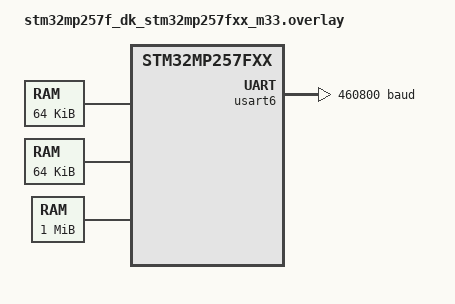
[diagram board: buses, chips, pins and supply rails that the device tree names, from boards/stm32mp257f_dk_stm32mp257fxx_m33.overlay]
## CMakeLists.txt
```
# MP257 Cortex-M33 Zephyr uygulamasının derleme tanımı.

# Zephyr 4.5.0'ın istediği en düşük CMake sürümü
cmake_minimum_required(VERSION 3.28)

# project()'ten önce gelmeli: kartı ve derleyiciyi bu satır ayarlar, app hedefini de oluşturur
find_package(Zephyr REQUIRED HINTS $ENV{ZEPHYR_BASE})

project(mp257_m33 LANGUAGES C)

# Derlenecek kaynaklar tek tek listelenir
target_sources(app PRIVATE src/main.c src/app_isr.c src/packet.c src/ipcc.c src/rpmsg_link.c src/f746_tx.c src/frame.c src/line_task.c)

# RPMsg kütüphanesinin başlıkları
target_include_directories(app PRIVATE ${LIBMETAL_INCLUDE_DIR} ${OPENAMP_INCLUDE_DIR})
```

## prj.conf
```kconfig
# M6: F746 ham telemetrisi, LD9, TELEM paketi ve Linux'a RPMsg kanalı.

# LD9 (PH6) bir GPIO pini
CONFIG_GPIO=y

# USART6 sürücüsü; baytlar kesmeyle gelir ve gider
CONFIG_SERIAL=y
CONFIG_UART_INTERRUPT_DRIVEN=y

# Yazı çıktısı yok
CONFIG_CONSOLE=n
CONFIG_UART_CONSOLE=n

# TELEM paketinin CRC8'i
CONFIG_CRC=y

# IPCC posta kutusu: Linux ile karşılıklı kesme
CONFIG_IPM=y

# RPMsg kütüphanesi; kanalı Linux yönetir
CONFIG_OPENAMP=y
CONFIG_OPENAMP_MASTER=n

# Linux kanalı bu tablodan öğrenir; yön başına 8 tampon (100 Hz'de 80 ms)
CONFIG_OPENAMP_RSC_TABLE=y
CONFIG_OPENAMP_RSC_TABLE_NUM_RPMSG_BUFF=8

# RPMsg kütüphanesinin açılışta ayırdığı bellek, bayt
CONFIG_HEAP_MEM_POOL_SIZE=2048
```

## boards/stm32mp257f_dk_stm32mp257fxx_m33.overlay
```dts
/* STM32MP257F-DK M33: kart tanımının üstüne yazılan ayarlar. */

/* F746 ham telemetri hattı: PF13 TX, PF14 RX */
&usart6 {
    current-speed = <460800>;
    fifo-enable;                        /* 64 bayt: kesme gecikse de bayt taşmaz */
};

/* Kart tanımında konsol için açık; kullanılmıyor */
&uart5 {
    status = "disabled";
};

/* Program DDR yerine M33'ün iç belleği SRAM2'de: 64 KB kod, 64 KB veri */
/ {
    chosen {
        zephyr,flash = &sram2_code;
        zephyr,sram = &sram2_data;
    };

    sram2_code: memory@a060000 {
        compatible = "zephyr,memory-region", "mmio-sram";
        reg = <0x0a060000 DT_SIZE_K(64)>;
        zephyr,memory-region = "SRAM2_CODE";
    };

    sram2_data: memory@a070000 {
        compatible = "zephyr,memory-region", "mmio-sram";
        reg = <0x0a070000 DT_SIZE_K(64)>;
        zephyr,memory-region = "SRAM2_DATA";
    };
};

/* Linux ile paylaşılan bellek: Linux'un ipc-shmem, vring ve tampon alanları, toplam 1 MB */
/ {
    chosen {
        zephyr,ipc_shm = &ipc_shmem;
        zephyr,ipc = &mailbox;
    };

    ipc_shmem: memory@81200000 {
        compatible = "mmio-sram";
        reg = <0x81200000 DT_SIZE_M(1)>;
    };
};
```

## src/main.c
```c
/* MP257 Cortex-M33 uygulaması. M6: F746'nın ham mesajlarını TELEM paketine çevirip Linux'a verir, sırasını ve sürelerini tutar. */
#include "packet.h"
#include "rpmsg_link.h"
#include <zephyr/drivers/gpio.h>
#include <zephyr/drivers/uart.h>
#include <zephyr/sys/byteorder.h>

#define LED_MSGS 50U                                 // 100 Hz'de LED 0,5 saniyede bir değişir

/* Bir sürenin özeti, k_cycle_get_32 çevrimi; jitter = max - min. */
typedef struct
{
    uint32_t count;
    uint32_t min;
    uint32_t max;
    uint64_t sum;
} Stat;

// Kesme ile paylaşılan nesneler; 8 mesaj = 80 ms pay
K_MSGQ_DEFINE(raw_queue, sizeof(RawMsg), 8, 4);
volatile uint32_t rx_errors;
volatile uint32_t bad_len;
volatile uint32_t queue_drops;

// Linux'tan okunan sonuçlar
volatile uint32_t msg_count;                         // alınan tam mesaj
volatile uint32_t seq_gaps;                          // sırada atlama
volatile Stat rx_time = { .min = UINT32_MAX };       // T2 - T1: ilk bayttan 23. bayta
volatile Stat wake_time = { .min = UINT32_MAX };     // T3 - T2: kesmeden thread'e
volatile Stat proc_time = { .min = UINT32_MAX };     // T4 - T3: sıra denetimi ve paket kurma
volatile Stat send_time = { .min = UINT32_MAX };     // T5 - T4: paketi Linux'a verme, yalnız gönderilenler
uint8_t last_packet[PKT_SIZE];                       // son TELEM paketi

// Donanım tanımındaki led0: LD9, GPIOH pin 6
static const struct gpio_dt_spec led = GPIO_DT_SPEC_GET(DT_ALIAS(led0), gpios);

// PF13 TX, PF14 RX, 460800
static const struct device *const uart = DEVICE_DT_GET(DT_NODELABEL(usart6));

/* Bir süreyi özete ekler. */
static void stat_add(volatile Stat *stat, uint32_t cycles)
{
    if (cycles < stat->min)
    {
        stat->min = cycles;
    }

    if (cycles > stat->max)
    {
        stat->max = cycles;
    }

    stat->sum += cycles;
    ++stat->count;
}

/* prev_seq bir öncekinden 1 fazla değilse atlama sayar. */
static void check_seq(const RawMsg *msg)
{
    static uint16_t last_seq;
    static int have_seq;

    // F746 yeni açıldı: henüz önceki mesaj yok, sıra yeniden başlar
    if (!(msg->data[RAW_FLAGS_OFFSET] & RAW_FLAG_PREV))
    {
        have_seq = 0;
        return;
    }

    uint16_t seq = sys_get_be16(&msg->data[RAW_PREV_SEQ_OFFSET]);

    if (have_seq && (uint16_t)(seq - last_seq) != 1U)
    {
        ++seq_gaps;
    }

    last_seq = seq;
    have_seq = 1;
}

/* LED ve USART6'yı hazırlar, gelen her mesajı işler; dönmez. */
int main(void)
{
    if (!gpio_is_ready_dt(&led) || !device_is_ready(uart))
    {
        k_panic();                                   // sürücü açılmadı
    }

    if (gpio_pin_configure_dt(&led, GPIO_OUTPUT_INACTIVE) != 0)
    {
        k_panic();                                   // pin çıkış yapılamadı
    }

    if (uart_irq_callback_user_data_set(uart, uart_isr, NULL) != 0)
    {
        k_panic();                                   // kesme bağlanamadı
    }

    (void)uart_err_check(uart);                      // açılıştan kalan hata bayrakları temizlenir
    uart_irq_rx_enable(uart);
    uart_irq_err_enable(uart);

    uint16_t m33_us = 0;                             // önceki paketin T5 - T1'i, µs; 0: yok

    for (;;)
    {
        RawMsg msg;

        k_msgq_get(&raw_queue, &msg, K_FOREVER);     // thread mesaj gelene kadar uyur
        uint32_t woken = k_cycle_get_32();           // T3

        check_seq(&msg);
        packet_build(last_packet, msg.data, m33_us);
        uint32_t built = k_cycle_get_32();           // T4

        int sent = link_send(last_packet, PKT_SIZE);
        uint32_t handed = k_cycle_get_32();          // T5

        // Özetler T5'ten sonra: ölçüm kendi süresini aşamalara eklemez
        stat_add(&rx_time, msg.last_cycles - msg.first_cycles);
        stat_add(&wake_time, woken - msg.last_cycles);
        stat_add(&proc_time, built - woken);

        if (sent)
        {
            stat_add(&send_time, handed - built);
        }

        // Sıradaki paket bu paketin T5 - T1'ini taşır (F746'nın prev_us'u gibi); gönderilmediyse 0
        uint32_t us = k_cyc_to_us_floor32(handed - msg.first_cycles);
        m33_us = !sent ? 0U : (us > UINT16_MAX ? UINT16_MAX : (uint16_t)us);

        ++msg_count;                                 // paket hazır olduktan sonra artar

        if (msg_count % LED_MSGS == 0 && gpio_pin_toggle_dt(&led) != 0)
        {
            k_panic();                               // pin yazılamadı
        }
    }
}
```

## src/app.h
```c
#pragma once
#include "frame.h"
#include <zephyr/kernel.h>
#include <zephyr/device.h>

#define MSG_SIZE   23U                               // F746 ham mesajı, bayt
#define MSG_GAP_US 2000U                             // çerçeve içinde bundan uzun sessizlik: çerçeve yarım kaldı

/* F746'dan gelen bir ham mesaj; zamanlar k_cycle_get_32 çevrimi. */
typedef struct
{
    uint8_t data[MSG_SIZE];
    uint32_t first_cycles;                           // T1: çerçevenin ilk baytı alındı
    uint32_t last_cycles;                            // T2: çerçevenin son baytı alındı
} RawMsg;

/* F746'dan gelen bir satır parçası. */
typedef struct
{
    uint8_t size;
    uint8_t data[FRAME_DATA_MAX];                    // sıra baytı + karakterler
} Piece;

extern struct k_msgq raw_queue;                      // kesmeden thread'e RawMsg
extern struct k_msgq piece_queue;                    // kesmeden line thread'ine Piece
extern volatile uint32_t piece_drops;                // kuyruk doluyken gelen parça
extern volatile uint32_t rx_errors;                  // hat hatası
extern volatile uint32_t bad_len;                    // bozuk ya da yarım kalan çerçeve
extern volatile uint32_t queue_drops;                // kuyruk doluyken gelen mesaj

void uart_isr(const struct device *dev, void *user_data); // USART6 kesmesi
```

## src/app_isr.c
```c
/* Kesmeler: USART6 çerçevelerini main ve line thread'lerine, IPCC haberini link thread'ine verir; süre dolunca göndermeyi kapatır. */
#include "app.h"
#include "f746_tx.h"
#include "ipcc.h"
#include "rpmsg_link.h"
#include <zephyr/drivers/uart.h>
#include <string.h>

static FrameRx rx;                                   // toplanan çerçeve
static uint32_t first_cycles;                        // T1
static uint32_t last_byte_cycles;                    // son baytın alındığı an

/* Tam çerçeveyi türüne göre thread'ine verir; kuyruk doluysa kayıp sayılır. */
static void give_frame(uint32_t now)
{
    uint8_t type = rx.raw[0];
    uint8_t size = rx.raw[1];

    if (type == FRAME_TELEM && size == MSG_SIZE)
    {
        RawMsg msg = { .first_cycles = first_cycles, .last_cycles = now };

        memcpy(msg.data, &rx.raw[2], MSG_SIZE);

        if (k_msgq_put(&raw_queue, &msg, K_NO_WAIT) != 0)
        {
            ++queue_drops;                           // thread yetişemedi, mesaj kayıp
        }
    }
    else if (type == FRAME_LINE)
    {
        Piece piece = { .size = size };

        memcpy(piece.data, &rx.raw[2], size);

        if (k_msgq_put(&piece_queue, &piece, K_NO_WAIT) != 0)
        {
            ++piece_drops;                           // eksik parça line_add'de satırı düşürür
        }
    }
    else
    {
        ++bad_len;
    }
}

/* Bir baytı çerçeveye ekler; tam çerçeveyi iletir. */
static void add_byte(uint8_t byte)
{
    uint32_t now = k_cycle_get_32();

    if (rx.state != FRAME_WAIT_SOF && now - last_byte_cycles > k_us_to_cyc_floor32(MSG_GAP_US))
    {
        ++bad_len;                                   // yarım kalan çerçeve atılır
        rx.state = FRAME_WAIT_SOF;
    }

    last_byte_cycles = now;
    int result = frame_add(&rx, byte);

    if (rx.state == FRAME_WAIT_TYPE)
    {
        first_cycles = now;                          // T1: bu bayt SOF
    }

    if (result > 0)
    {
        give_frame(now);                             // T2
    }
    else if (result < 0)
    {
        ++bad_len;
    }
}

/* Hat hatalarını sayar, gelen baytları mesaja ekler. */
void uart_isr(const struct device *dev, void *user_data)
{
    (void)user_data;

    uart_irq_update(dev);                            // diğer uart_irq çağrılarından önce şart

    if (uart_err_check(dev) > 0)
    {
        ++rx_errors;                                 // taşma, çerçeve ya da gürültü hatası
    }

    if (uart_irq_rx_ready(dev) > 0)
    {
        uint8_t byte;

        while (uart_fifo_read(dev, &byte, 1) == 1)
        {
            add_byte(byte);
        }
    }

    if (uart_irq_tx_ready(dev) > 0)
    {
        f746_tx_isr(dev);
    }
}

/* Linux'un haberini link thread'ine iletir. */
void ipcc_isr(const struct device *dev, void *user_data, uint32_t channel, volatile void *data)
{
    (void)dev;
    (void)user_data;
    (void)channel;
    (void)data;
    k_sem_give(&ipcc_sem);
}

/* Linux'un '1' komutu yenilenmedi: göndermeyi kapatır. */
void lease_isr(struct k_timer *timer)
{
    (void)timer;
    link_on = 0;
    ++link_expired;
}
```

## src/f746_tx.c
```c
/* F746'ya USART6'dan "Linux var / yok" mesajını ve PC'nin Linux'tan gelen baytlarını yollar:
   link thread'i sıraya koyar, USART6 kesmesi hatta verir. */
#include "f746_tx.h"
#include <zephyr/kernel.h>
#include <zephyr/drivers/uart.h>
#include <zephyr/sys/crc.h>
#include <zephyr/sys/ring_buffer.h>

#define LINK_SOF       0xA5U                         // F746'daki raw_link.c ile aynı
#define LINUX_MSG_TYPE 0x4CU                         // 'L'
#define CMD_TYPE       0x43U                         // 'C'
#define LINK_CRC8_POLY 0x07U                         // CRC-8/SMBUS, başlangıç 0

volatile uint32_t f746_tx_count;                     // hatta verilen durum mesajı
volatile uint32_t f746_tx_cmds;                      // hatta verilen komut çerçevesi
volatile uint32_t f746_tx_drops;                     // sıra dolu olduğu için atılan komut mesajı

// Link thread'i yazar, USART6 kesmesi okur; 8192 bayt 0,2 s'lik hat
RING_BUF_DECLARE(cmd_ring, 8192);

static const struct device *const uart = DEVICE_DT_GET(DT_NODELABEL(usart6));
static volatile uint32_t state_wanted;               // yollanacak durum mesajı: 0 yok, 1 "yok", 2 "var"
static volatile uint32_t lost;                       // komut atıldı: sonraki çerçevenin sırası atlar
static uint8_t out[CMD_FRAME_MAX];                   // hattaki mesaj; yalnız kesme kullanır
static size_t out_len;
static size_t out_pos;
static uint8_t cmd_seq;                              // 7 bit

/* Mesajı kurar; son bayt durumun tersidir, bozuk mesaj F746'da tanınmaz. */
void linux_msg_build(uint8_t *msg, int on)
{
    msg[0] = LINK_SOF;
    msg[1] = LINUX_MSG_TYPE;
    msg[2] = on ? 1U : 0U;
    msg[3] = (uint8_t)~msg[2];
}

/* msg[4]'ten başlayan n baytı komut çerçevesine alır; çerçevenin uzunluğunu döndürür. */
size_t cmd_frame_build(uint8_t *msg, uint8_t seq, size_t n)
{
    msg[0] = LINK_SOF;
    msg[1] = CMD_TYPE;
    msg[2] = (uint8_t)(1U + n);
    msg[3] = seq;
    msg[4U + n] = crc8(&msg[1], 3U + n, LINK_CRC8_POLY, 0x00, false);

    return 5U + n;
}

/* Durum mesajını ister; öncekisi yollanmadıysa yenisi geçerlidir. */
void f746_tx_state(int on)
{
    state_wanted = on ? 2U : 1U;
    uart_irq_tx_enable(uart);
}

/* Baytları sıraya koyar; sığmazsa mesajın tamamı atılır ve sayılır. */
void f746_tx_command(const uint8_t *data, size_t size)
{
    if (ring_buf_space_get(&cmd_ring) < size)
    {
        ++f746_tx_drops;
        lost = 1;                                    // F746 eksik olduğunu sıradan anlar
        return;
    }

    (void)ring_buf_put(&cmd_ring, data, (uint32_t)size);
    uart_irq_tx_enable(uart);
}

/* Sıradaki mesajı out'a kurar; yollanacak yoksa 0. Durum mesajı önce gider. */
static size_t next_message(void)
{
    uint32_t wanted = state_wanted;

    if (wanted != 0)
    {
        state_wanted = 0;
        linux_msg_build(out, wanted == 2U);
        ++f746_tx_count;

        return LINUX_MSG_SIZE;
    }

    size_t n = ring_buf_get(&cmd_ring, &out[4], CMD_CHARS);

    if (n == 0)
    {
        return 0;
    }

    if (lost)
    {
        lost = 0;
        cmd_seq = (uint8_t)((cmd_seq + 1U) & 0x7FU);
    }

    size_t size = cmd_frame_build(out, cmd_seq, n);

    cmd_seq = (uint8_t)((cmd_seq + 1U) & 0x7FU);
    ++f746_tx_cmds;

    return size;
}

/* Sığan baytları FIFO'ya yazar; yollanacak kalmayınca yazma kesmesini kapatır. */
void f746_tx_isr(const struct device *dev)
{
    if (out_pos == out_len)
    {
        out_len = next_message();
        out_pos = 0;

        if (out_len == 0)
        {
            uart_irq_tx_disable(dev);
            return;
        }
    }

    out_pos += (size_t)uart_fifo_fill(dev, &out[out_pos], (int)(out_len - out_pos));
}
```

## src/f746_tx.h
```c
#pragma once
#include <stddef.h>
#include <stdint.h>
#include <zephyr/device.h>

#define LINUX_MSG_SIZE 4U                            // F746'ya giden "Linux var / yok" mesajı, bayt
#define CMD_CHARS      31U                           // bir komut çerçevesindeki PC baytı
#define CMD_FRAME_MAX  (4U + 1U + CMD_CHARS)         // SOF, tür, uzunluk, sıra, veri, CRC8

void linux_msg_build(uint8_t *out, int on);                  // LINUX_MSG_SIZE bayt kurar
size_t cmd_frame_build(uint8_t *out, uint8_t seq, size_t n); // out[4]'teki n baytı çerçeveler; çerçeve uzunluğu
void f746_tx_state(int on);                                  // durum mesajını kesmeyle yollar, beklemez
void f746_tx_command(const uint8_t *data, size_t size);      // PC'nin baytlarını sıraya koyar, beklemez
void f746_tx_isr(const struct device *dev);                  // USART6 yazmaya hazır
```

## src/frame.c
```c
/* F746'nın USART6 çerçevelerini çözer ve satır parçalarını birleştirir; donanım ve kesme kullanmaz. */
#include "frame.h"
#include <zephyr/sys/crc.h>
#include <string.h>

#define FRAME_CRC8_POLY 0x07U                        // CRC-8/SMBUS, başlangıç 0

/* Bir baytı ekler; bozuk çerçevenin son baytı yeni çerçevenin başı olabilir. */
int frame_add(FrameRx *rx, uint8_t byte)
{
    switch (rx->state)
    {
    case FRAME_WAIT_SOF:
        rx->state = byte == FRAME_SOF ? FRAME_WAIT_TYPE : FRAME_WAIT_SOF;
        return 0;

    case FRAME_WAIT_TYPE:
        if (byte == FRAME_TELEM || byte == FRAME_LINE)
        {
            rx->raw[0] = byte;
            rx->state = FRAME_WAIT_LEN;
            return 0;
        }
        break;

    case FRAME_WAIT_LEN:
        if (byte >= 1U && byte <= FRAME_DATA_MAX)
        {
            rx->raw[1] = byte;
            rx->pos = 0;
            rx->state = FRAME_WAIT_DATA;
            return 0;
        }
        break;

    case FRAME_WAIT_DATA:
        rx->raw[2U + rx->pos] = byte;
        ++rx->pos;

        if (rx->pos == rx->raw[1])
        {
            rx->state = FRAME_WAIT_CRC;
        }
        return 0;

    case FRAME_WAIT_CRC:
        if (byte == crc8(rx->raw, 2U + rx->raw[1], FRAME_CRC8_POLY, 0x00, false))
        {
            rx->state = FRAME_WAIT_SOF;
            return 1;
        }
        break;
    }

    rx->state = byte == FRAME_SOF ? FRAME_WAIT_TYPE : FRAME_WAIT_SOF;

    return -1;
}

/* Parçayı satıra ekler; piece[0] sıra baytıdır. Sırası tutmayan parçada satır atılır, sonraki satır etkilenmez. */
size_t line_add(LineRx *rx, const uint8_t *piece, size_t size)
{
    uint8_t seq = piece[0] & (uint8_t)~PIECE_FIRST;
    int first = (piece[0] & PIECE_FIRST) != 0;
    int in_order = seq == rx->next;

    rx->next = (uint8_t)((seq + 1U) & 0x7FU);
    ++piece;
    --size;

    if (first)
    {
        if (rx->open)
        {
            ++rx->lost;                              // önceki satırın sonu gelmedi
        }

        rx->open = 1;
        rx->len = 0;
    }
    else if (!rx->open)
    {
        return 0;                                    // atılan satırın kalanı
    }
    else if (!in_order || rx->len + size > LINE_MAX)
    {
        rx->open = 0;
        ++rx->lost;
        return 0;
    }

    memcpy(&rx->buf[rx->len], piece, size);
    rx->len += size;

    if (size == 0 || rx->buf[rx->len - 1U] != '\n')
    {
        return 0;
    }

    rx->open = 0;

    return rx->len;
}
```

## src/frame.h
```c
#pragma once
#include <stddef.h>
#include <stdint.h>

#define FRAME_SOF      0xA5U                         // F746'daki raw_link.c ile aynı
#define FRAME_TELEM    0x54U                         // 'T': 23 bayt ham telemetri
#define FRAME_LINE     0x44U                         // 'D': sıra baytı + satırın bir parçası
#define FRAME_DATA_MAX 32U
#define PIECE_FIRST    0x80U                         // sıra baytında: satırın ilk parçası
#define LINE_MAX       544U                          // F746'nın en uzun satırı 529

typedef enum
{
    FRAME_WAIT_SOF,
    FRAME_WAIT_TYPE,
    FRAME_WAIT_LEN,
    FRAME_WAIT_DATA,
    FRAME_WAIT_CRC
} FrameState;

/* Bayt bayt toplanan çerçeve. */
typedef struct
{
    FrameState state;
    uint8_t raw[2U + FRAME_DATA_MAX];                // tür, uzunluk, veri
    size_t pos;                                      // alınan veri baytı
} FrameRx;

/* Parçalardan birleşen satır. */
typedef struct
{
    uint8_t buf[LINE_MAX];
    size_t len;
    uint8_t next;                                    // beklenen sıra
    int open;                                        // ilk parçası alınmış satır var
    uint32_t lost;                                   // eksik parça yüzünden atılan satır
} LineRx;

int frame_add(FrameRx *rx, uint8_t byte);                              // 1 tam çerçeve, -1 bozuk, 0 sürüyor
size_t line_add(LineRx *rx, const uint8_t *piece, size_t size);        // satır bittiyse uzunluğu, yoksa 0
```

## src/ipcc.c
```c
/* IPCC posta kutusu: Linux'a haber gönderir; gelen haber ipcc_isr ile semafora dönüşür. */
#include "ipcc.h"
#include <zephyr/drivers/ipm.h>
#include <soc.h>
#include <stm32_ll_ipcc.h>

volatile uint32_t ipcc_busy;
volatile uint32_t ipcc_errors;

static const struct device *const ipm = DEVICE_DT_GET(DT_CHOSEN(zephyr_ipc));
static IPCC_TypeDef *const regs = (IPCC_TypeDef *)DT_REG_ADDR(DT_CHOSEN(zephyr_ipc));

/* IPCC kesmelerini açar; başarı 1, sürücü hazır değilse 0. */
int ipcc_open(void)
{
    if (!device_is_ready(ipm))
    {
        return 0;
    }

    ipm_register_callback(ipm, ipcc_isr, NULL);

    return ipm_set_enabled(ipm, 1) == 0;
}

/* Linux'a bir kanaldan kesme gönderir. */
void ipcc_notify(uint32_t channel)
{
    // ipm_send dolu kanalda boş döner; bekleyen haber Linux'u zaten uyandıracak
    if (LL_C2_IPCC_IsActiveFlag_CHx(regs, LL_IPCC_CHANNEL_1 << channel))
    {
        ++ipcc_busy;
        return;
    }

    if (ipm_send(ipm, 0, channel, NULL, 0) != 0)
    {
        ++ipcc_errors;
    }
}
```

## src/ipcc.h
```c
#pragma once
#include <zephyr/kernel.h>
#include <zephyr/device.h>

extern struct k_sem ipcc_sem;                        // Linux haber verdi: kesmeden link thread'ine
extern volatile uint32_t ipcc_busy;                  // Linux önceki haberi almadığı için atlanan haber
extern volatile uint32_t ipcc_errors;                // sürücünün reddettiği haber

int ipcc_open(void);                                 // IPCC kesmelerini açar; başarı 1
void ipcc_notify(uint32_t channel);                  // Linux'a kesme gönderir, beklemez
void ipcc_isr(const struct device *dev, void *user_data, uint32_t channel, volatile void *data); // IPCC alma kesmesi
```

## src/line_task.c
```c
/* Line thread'i: USART6 kesmesinin verdiği satır parçalarını birleştirir, tam satırı Linux'a verir. */
#include "app.h"
#include "rpmsg_link.h"

// Parça en az 0,43 ms'de bir gelir: 32 parça 14 ms pay
K_MSGQ_DEFINE(piece_queue, sizeof(Piece), 32, 4);
volatile uint32_t piece_drops;
volatile uint32_t line_count;

static LineRx rx;

/* piece_queue'dan okur, satır bitince link_send_line ile verir; eksik parçalı satır rx.lost'ta sayılır. */
static void line_task(void *a, void *b, void *c)
{
    ARG_UNUSED(a);
    ARG_UNUSED(b);
    ARG_UNUSED(c);

    for (;;)
    {
        Piece piece;

        k_msgq_get(&piece_queue, &piece, K_FOREVER); // thread parça gelene kadar uyur
        size_t len = line_add(&rx, piece.data, piece.size);

        if (len > 0)
        {
            ++line_count;
            (void)link_send_line(rx.buf, len);       // kayıp link_drops ve link_skipped'te
        }
    }
}

// Öncelik 6: telemetri (main, 0) ve link (5) thread'lerinden sonra; stack 1024 bayt
K_THREAD_DEFINE(line_id, 1024, line_task, NULL, NULL, NULL, 6, 0, 0);
```

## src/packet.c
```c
/* Ham mesajdan Host'un beklediği TELEM paketini kurar; donanım ve kesme kullanmaz. */
#include "packet.h"
#include <zephyr/sys/byteorder.h>
#include <zephyr/sys/crc.h>
#include <string.h>

#define PKT_SOF  0xA5U
#define PKT_VER  0x01U
#define PKT_TELEM 0x30U                               // Host'taki TELEM türü
#define TELEM_CRC8_POLY 0x07U                         // CRC-8/SMBUS: yansıtma ve xorout yok, başlangıç 0

/* Paketin SEQ'ini döndürür: F746'nın prev_seq'i + 1; önceki mesaj bilgisi yoksa 0. */
uint16_t packet_seq(const uint8_t *raw)
{
    if (!(raw[RAW_FLAGS_OFFSET] & RAW_FLAG_PREV))
    {
        return 0;
    }

    return (uint16_t)(sys_get_be16(&raw[RAW_PREV_SEQ_OFFSET]) + 1U);
}

/* 23 baytlık ham mesajı ve önceki paketin M33 süresini 35 baytlık pakete çevirir. */
void packet_build(uint8_t *out, const uint8_t *raw, uint16_t m33_us)
{
    out[0] = PKT_SOF;
    out[1] = PKT_VER;
    out[2] = PKT_TELEM;
    out[3] = 0;                                       // bayrak yok: veri paketi
    sys_put_be16(packet_seq(raw), &out[4]);
    out[6] = 0;                                       // REQ_ID: veride 0
    out[7] = 0;
    out[8] = MSG_SIZE + M33_US_SIZE;
    memcpy(&out[PKT_HEADER_SIZE], raw, MSG_SIZE);
    sys_put_be16(m33_us, &out[PKT_HEADER_SIZE + MSG_SIZE]);  // bir paket kendi süresini taşıyamaz: öncekinin süresi
    out[PKT_SIZE - 1U] = crc8(out, PKT_SIZE - 1U, TELEM_CRC8_POLY, 0x00, false);
}
```

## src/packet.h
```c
#pragma once
#include "app.h"

#define PKT_HEADER_SIZE 9U                           // SOF'tan LEN'e
#define M33_US_SIZE     2U                           // önceki paketin T5 - T1 süresi, µs, yüksek bayt önce
#define PKT_SIZE        (PKT_HEADER_SIZE + MSG_SIZE + M33_US_SIZE + 1U) // başlık + ham mesaj + M33 süresi + CRC8 = 35

#define RAW_FLAGS_OFFSET    18U                      // ham mesajda flags
#define RAW_PREV_SEQ_OFFSET 19U                      // önceki mesajın sırası, yüksek bayt önce
#define RAW_FLAG_PREV       0x04U                    // prev_seq geçerli

uint16_t packet_seq(const uint8_t *raw);                    // paketin SEQ'i: prev_seq + 1, prev yoksa 0
void packet_build(uint8_t *out, const uint8_t *raw, uint16_t m33_us); // 23 ham bayt + M33 süresi: 35 baytlık TELEM paketi
```

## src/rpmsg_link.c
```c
/* RPMsg kanalı: link thread'i Linux hazır olunca rpmsg-raw uç noktasını açar ve komutları alır; main thread'i paketi link_send ile verir. */
#include "rpmsg_link.h"
#include "f746_tx.h"
#include "ipcc.h"
#include <openamp/open_amp.h>
#include <metal/sys.h>
#include <resource_table.h>
#include <string.h>

#define SHM_ADDR DT_REG_ADDR(DT_CHOSEN(zephyr_ipc_shm))
#define SHM_SIZE DT_REG_SIZE(DT_CHOSEN(zephyr_ipc_shm))

K_SEM_DEFINE(ipcc_sem, 0, 1);                        // 1 yeter: bir uyanışta bütün mesajlar işlenir
K_TIMER_DEFINE(lease_timer, lease_isr, NULL);        // her '1' baştan başlatır

volatile uint32_t link_state = LINK_WAIT;
volatile int32_t link_error;
volatile uint32_t link_rx;
volatile uint32_t link_unknown;
volatile uint32_t link_on;
volatile uint32_t link_expired;
volatile uint32_t link_sent;
volatile uint32_t link_skipped;
volatile uint32_t link_drops;

static metal_phys_addr_t shm_phys = SHM_ADDR;
static metal_phys_addr_t table_phys;
static struct metal_io_region shm_io;                // vring'ler ve tamponlar
static struct metal_io_region table_io;              // resource table
static struct rpmsg_virtio_device rvdev;
static struct rpmsg_endpoint endpoint;

/* Kütüphane Linux'a haber vermek isteyince çağrılır. */
static int notify_linux(void *priv, uint32_t id)
{
    (void)priv;
    ipcc_notify(id);

    return 0;
}

/* Linux'un mesajını uygular: '1' LINK_LEASE_MS boyunca gönder, '0' dur, 'C' + baytlar F746'ya gider. */
static int on_message(struct rpmsg_endpoint *ept, void *data, size_t len, uint32_t src, void *priv)
{
    (void)ept;
    (void)src;
    (void)priv;
    ++link_rx;

    const uint8_t *msg = data;
    uint8_t command = len >= 1 ? msg[0] : 0;

    if (command == 'C' && len > 1)
    {
        f746_tx_command(&msg[1], len - 1U);
    }
    else if (command == '1' && len == 1)
    {
        // Okuyan program çökerse '1' kesilir, süre dolunca gönderme durur
        k_timer_start(&lease_timer, K_MSEC(LINK_LEASE_MS), K_NO_WAIT);
        link_on = 1;                                 // Linux'un adresi bu mesajla öğrenildi
        f746_tx_state(1);                            // F746 TELEM'i PC'ye yollamayı keser
    }
    else if (command == '0' && len == 1)
    {
        k_timer_stop(&lease_timer);
        link_on = 0;                                 // okuyan yok: paketler Linux çekirdeğinde birikmesin
        f746_tx_state(0);                            // F746 hemen PC'ye döner
    }
    else
    {
        ++link_unknown;
    }

    return RPMSG_SUCCESS;
}

/* Paketi tampona kopyalar ve Linux'a haber verir; başarı 1. */
int link_send(const void *data, size_t size)
{
    if (!link_on)
    {
        ++link_skipped;
        return 0;
    }

    // trysend tampon yoksa beklemeden hata döner
    if (rpmsg_trysend(&endpoint, data, size) < 0)
    {
        ++link_drops;
        return 0;
    }

    ++link_sent;

    return 1;
}

/* Satırı 'L', bayrak (1 ilk, 2 son), 2 bayt sıra, veri biçiminde verir; sıra eksikse okuyan satırı atar. */
int link_send_line(const uint8_t *line, size_t size)
{
    static uint16_t seq;                             // yalnız line thread'i çağırır
    static uint8_t msg[4U + LINE_CHUNK];
    int ok = 1;

    for (size_t pos = 0; pos < size;)
    {
        size_t n = size - pos < LINE_CHUNK ? size - pos : LINE_CHUNK;

        msg[0] = 'L';
        msg[1] = (uint8_t)((pos == 0 ? 1U : 0U) | (pos + n == size ? 2U : 0U));
        msg[2] = (uint8_t)(seq >> 8);
        msg[3] = (uint8_t)seq;
        memcpy(&msg[4], &line[pos], n);
        ++seq;                                       // verilemeyen mesaj da sırada boşluk bırakır
        pos += n;

        if (!link_send(msg, 4U + n))
        {
            ok = 0;
        }
    }

    return ok;
}

/* Linux'un kanalı açmasını kesmeyle bekler; başarı 0. */
static int wait_linux(struct virtio_device *vdev)
{
    for (;;)
    {
        uint8_t status;
        int ret = virtio_get_status(vdev, &status);

        // Linux'un haberi kesme açılmadan gelmiş olabilir: uyumadan önce durum okunur
        if (ret != 0 || (status & VIRTIO_CONFIG_STATUS_DRIVER_OK))
        {
            return ret;
        }

        k_sem_take(&ipcc_sem, K_FOREVER);
    }
}

/* Vring'leri bağlar ve uç noktayı açar; başarı 0. */
static int open_channel(struct virtio_device *vdev, void *table)
{
    struct fw_rsc_vdev_vring *tx = rsc_table_get_vring0(table); // M33'ten Linux'a
    struct fw_rsc_vdev_vring *rx = rsc_table_get_vring1(table); // Linux'tan M33'e

    int ret = rproc_virtio_init_vring(vdev, 0, tx->notifyid, (void *)tx->da, &table_io, tx->num, tx->align);
    if (ret != 0)
    {
        return ret;
    }

    ret = rproc_virtio_init_vring(vdev, 1, rx->notifyid, (void *)rx->da, &table_io, rx->num, rx->align);
    if (ret != 0)
    {
        return ret;
    }

    ret = rpmsg_init_vdev(&rvdev, vdev, NULL, &shm_io, NULL);
    if (ret != 0)
    {
        return ret;
    }

    // Linux bu adı görünce rpmsg_char sürücüsünü bağlar
    return rpmsg_create_ept(&endpoint, rpmsg_virtio_get_rpmsg_device(&rvdev), "rpmsg-raw",
                            RPMSG_ADDR_ANY, RPMSG_ADDR_ANY, on_message, NULL);
}

/* Kanalı durdurur; telemetri ayrı thread'de çalışmaya devam eder. */
static void link_stop(int error)
{
    link_error = error;
    link_state = LINK_FAILED;
}

/* Link thread'i: kanalı açar, sonra Linux'un her haberinde gelen mesajları on_message'a verir. */
static void link_task(void *a, void *b, void *c)
{
    ARG_UNUSED(a);
    ARG_UNUSED(b);
    ARG_UNUSED(c);

    struct metal_init_params params = METAL_INIT_DEFAULTS;
    void *table;
    int table_size;

    int ret = metal_init(&params);
    if (ret != 0)
    {
        link_stop(ret);
        return;
    }

    rsc_table_get(&table, &table_size);
    table_phys = (metal_phys_addr_t)table;
    metal_io_init(&shm_io, (void *)SHM_ADDR, &shm_phys, SHM_SIZE, -1, 0, NULL);
    metal_io_init(&table_io, table, &table_phys, table_size, -1, 0, NULL);

    struct virtio_device *vdev = rproc_virtio_create_vdev(VIRTIO_DEV_DEVICE, VDEV_ID, rsc_table_to_vdev(table),
                                                          &table_io, NULL, notify_linux, NULL);
    if (vdev == NULL)
    {
        link_stop(-ENOMEM);                          // CONFIG_HEAP_MEM_POOL_SIZE yetmedi
        return;
    }

    if (!ipcc_open())
    {
        link_stop(-ENODEV);
        return;
    }

    ret = wait_linux(vdev);
    if (ret == 0)
    {
        ret = open_channel(vdev, table);
    }

    if (ret != 0)
    {
        link_stop(ret);
        return;
    }

    link_state = LINK_OPEN;

    for (;;)
    {
        k_sem_take(&ipcc_sem, K_FOREVER);
        rproc_virtio_notified(vdev, VRING1_ID);
    }
}

// Öncelik 5: telemetri thread'i (main, 0) her zaman önce; stack 1536 bayt
K_THREAD_DEFINE(link_id, 1536, link_task, NULL, NULL, NULL, 5, 0, 0);
```
